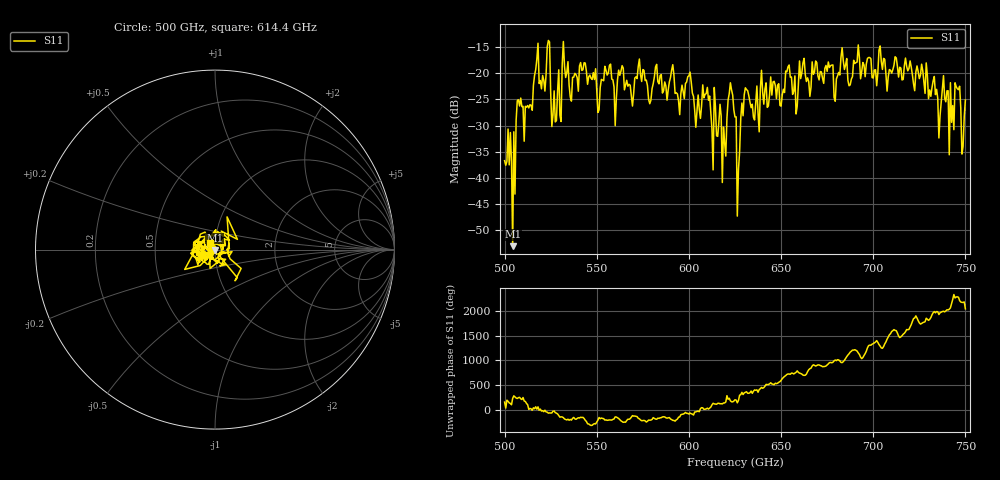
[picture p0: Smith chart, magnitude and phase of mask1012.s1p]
!Created with skrf (http://scikit-rf.org).
# GHz S MA R 50.0
!freq magS11 angS11
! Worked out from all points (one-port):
!   401 points, 500 GHz to 750 GHz, reference 50 ohm
!   lowest |S11| = -53.1 dB at 504.4 GHz (marker M1), VSWR 1.00, Z = 49.9 - j0.192 ohm
!   |S11| at or under -10 dB: start of sweep to end of sweep
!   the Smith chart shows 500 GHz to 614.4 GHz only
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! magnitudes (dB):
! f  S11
! 500 GHz  -36.7
! 504.4 GHz  -53.1
! 507.5 GHz  -25.0
! 513.8 GHz  -26.0
! 516.9 GHz  -19.3
! 523.8 GHz  -13.7
! 526.9 GHz  -23.3
! 531.2 GHz  -18.3
! 556.2 GHz  -20.0
! 560 GHz  -30.0
! 562.5 GHz  -20.4
! 578.8 GHz  -25.8
! 590.6 GHz  -19.4
! 593.8 GHz  -23.9
! 608.8 GHz  -24.0
! 619.4 GHz  -33.3
! 622.5 GHz  -21.8
! 625 GHz  -28.3
! 627.5 GHz  -35.0
! 631.2 GHz  -23.1
! 636.9 GHz  -22.4
! 656.2 GHz  -24.0
! 680 GHz  -21.1
! 683.8 GHz  -17.6
! 687.5 GHz  -22.2
! 691.2 GHz  -17.8
! 718.8 GHz  -19.5
! 750 GHz  -25.1
